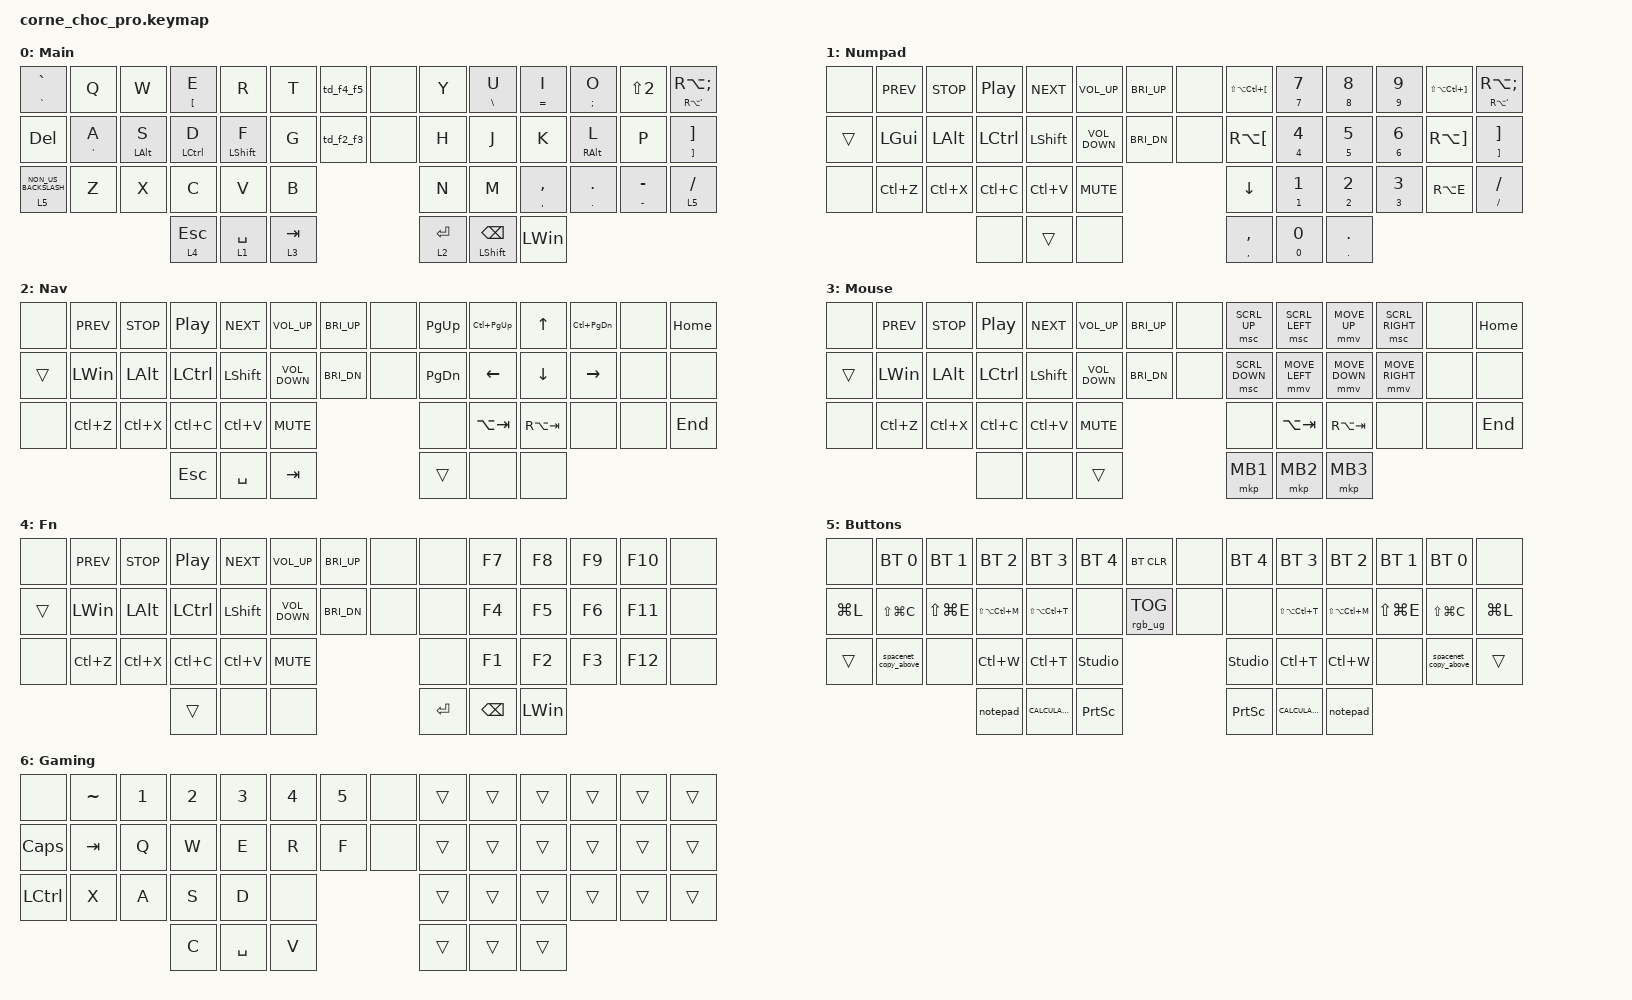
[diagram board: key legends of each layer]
/*
 * Copyright (c) 2020 The ZMK Contributors
 *
 * SPDX-License-Identifier: MIT
 */

#include <behaviors.dtsi>
#include <dt-bindings/zmk/bt.h>
#include <dt-bindings/zmk/keys.h>
#include <dt-bindings/zmk/pointing.h>
#include <dt-bindings/zmk/rgb.h>

&mt { flavor = "tap-preferred"; };

/ {
    chosen { zmk,physical-layout = &default_layout; };
};

/ {
    combos {
        compatible = "zmk,combos";

        punto_esclamativo {
            bindings = <&kp LS(NUMBER_1)>;
            key-positions = <23 24>;
        };

        caps_lock {
            bindings = <&kp CAPS>;
            key-positions = <18 17>;
        };

        apri_tonda {
            bindings = <&kp LS(N8)>;
            key-positions = <17 16>;
        };

        chiudi_tonda {
            bindings = <&kp LS(N9)>;
            key-positions = <24 25>;
        };
    };

    macros {
        notepad: notepad {
            compatible = "zmk,behavior-macro";
            #binding-cells = <0>;
            bindings =
                <&kp LG(R)>,
                <&macro_wait_time 300>,
                <&macro_tap_time 30>,
                <&macro_wait_time 30>,
                <&kp N &kp O &kp T &kp E &kp P &kp A &kp D>,
                <&macro_wait_time 50>,
                <&kp ENTER>;

            label = "NOTEPAD";
        };

        shifted: shifted {
            compatible = "zmk,behavior-macro-one-param";
            #binding-cells = <1>;
            bindings =
                <&macro_press>,
                <&kp LEFT_SHIFT &macro_param_1to1>,
                <&macro_tap>,
                <&kp MACRO_PLACEHOLDER>,
                <&macro_release>,
                <&kp LSHIFT>;

            label = "SHIFTED";
        };

        spacenet_copy_above: spacenet_copy_above {
            compatible = "zmk,behavior-macro";
            #binding-cells = <0>;
            bindings = <&kp NON_US_BACKSLASH &kp DOWN_ARROW>;
            label = "SPACENET_COPY_ABOVE";
        };
    };

    behaviors {
        auto_shift: auto_shift {
            compatible = "zmk,behavior-hold-tap";
            label = "AUTO_SHIFT";
            bindings = <&shifted>, <&kp>;

            #binding-cells = <2>;
            tapping-term-ms = <200>;
            flavor = "tap-preferred";
        };

        td_f2_f3: td_f2_f3 {
            compatible = "zmk,behavior-tap-dance";
            #binding-cells = <0>;
            tapping-term-ms = <200>;
            bindings = <
                &kp F2
                &kp F3
            >;
        };

        td_f4_f5: td_f4_f5 {
            compatible = "zmk,behavior-tap-dance";
            #binding-cells = <0>;
            tapping-term-ms = <200>;
            bindings = <
                &kp F4
                &kp F5
            >;
        };
    };

    keymap {
        compatible = "zmk,keymap";

        Main {
            display-name = "Main";

            // --------------------------------------------------------------------------------
            // |  TAB |  Q  |  W  |  E  |  R  |  T  |  MUTE |  PP   |  Y  |  U   |  I  |  O  |  P  | BSPC |
            // | CTRL |  A  |  S  |  D  |  F  |  G  |  LALT |  RALT |  H  |  J   |  K  |  L  |  ;  |  '   |
            // | SHFT |  Z  |  X  |  C  |  V  |  B  |               |  N  |  M   |  ,  |  .  |  /  | ESC  |
            //                    | GUI | LWR | SPC |               | ENT | RSE  | ALT |

            bindings = <
&auto_shift GRAVE GRAVE  &kp Q       &kp W           &mt LEFT_BRACKET E  &kp R             &kp T      &td_f4_f5  &none  &kp Y        &mt BACKSLASH U           &mt EQUAL I              &mt SEMI O           &kp LS(NUMBER_2)         &mt RA(APOS) RA(SEMICOLON)
&kp DEL                  &mt APOS A  &mt LEFT_ALT S  &mt LEFT_CONTROL D  &mt LEFT_SHIFT F  &kp G      &td_f2_f3  &none  &kp H        &kp J                     &kp K                    &mt RALT L           &kp P                    &auto_shift RIGHT_BRACKET RIGHT_BRACKET
&lt 5 NON_US_BACKSLASH   &kp Z       &kp X           &kp C               &kp V             &kp B                        &kp N        &kp M                     &auto_shift COMMA COMMA  &auto_shift DOT DOT  &auto_shift MINUS MINUS  &lt 5 SLASH
                                                     &lt 4 ESC           &lt 1 SPACE       &lt 3 TAB                    &lt 2 ENTER  &mt LEFT_SHIFT BACKSPACE  &kp LWIN
            >;
        };

        Numpad {
            display-name = "Numpad";

            // -----------------------------------------------------------------------------------------
            // |  TAB |  1  |  2  |  3  |  4  |  5    |  LCTRL | RCTRL |  6  |  7  |  8  |  9  |  0  | BSPC |
            // | CTRL | BT1 | BT2 | BT3 | BT4 | BT5   |  LALT  | RALT  | LFT | DWN |  UP | RGT |     |      |
            // | SHFT | BTCR| RGB | RST | BOOT| Unlock|        |       |     |     |     |     |     |      |
            //                    | GUI |     | SPC   |        | ENT   |     | ALT |

            bindings = <
&none   &kp C_PREV    &kp C_STOP    &kp C_PP          &kp C_NEXT      &kp C_VOLUME_UP    &kp C_BRI_UP  &none  &kp LS(LA(LC(LEFT_BRACKET)))  &auto_shift N7 N7  &auto_shift N8 N8    &auto_shift N9 N9  &kp LS(LA(LC(RIGHT_BRACKET)))  &mt RA(APOS) RA(SEMICOLON)
&trans  &kp LEFT_GUI  &kp LEFT_ALT  &kp LEFT_CONTROL  &kp LEFT_SHIFT  &kp C_VOLUME_DOWN  &kp C_BRI_DN  &none  &kp RA(LEFT_BRACKET)          &auto_shift N4 N4  &auto_shift N5 N5    &auto_shift N6 N6  &kp RA(RIGHT_BRACKET)          &auto_shift RIGHT_BRACKET RIGHT_BRACKET
&none   &kp LC(Z)     &kp LC(X)     &kp LC(C)         &kp LC(V)       &kp C_MUTE                              &kp DOWN                      &auto_shift N1 N1  &auto_shift N2 N2    &auto_shift N3 N3  &kp RA(E)                      &auto_shift SLASH SLASH
                                    &none             &trans          &none                                   &auto_shift COMMA COMMA       &auto_shift N0 N0  &auto_shift DOT DOT
            >;
        };

        Nav {
            display-name = "Nav";

            // -----------------------------------------------------------------------------------------
            // |  TAB |  !  |  @  |  #  |  $  |  %  | LCTRL | RCTRL |  ^  |  &  |  *  |  (  |  )  | BSPC |
            // | CTRL | HUD | HUI |     |     |     |  LALT | RALT  |  -  |  =  |  [  |  ]  |  \  |  `   |
            // | SHFT |     |     |     |     |     |               |  _  |  +  |  {  |  }  | "|" |  ~   |
            //                    | GUI |     | SPC |               | ENT |     | ALT |

            bindings = <
&none   &kp C_PREV    &kp C_STOP    &kp C_PP          &kp C_NEXT      &kp C_VOLUME_UP    &kp C_BRI_UP  &none  &kp PAGE_UP    &kp LC(PAGE_UP)  &kp UP_ARROW    &kp LC(PAGE_DOWN)  &none  &kp HOME
&trans  &kp LEFT_WIN  &kp LEFT_ALT  &kp LEFT_CONTROL  &kp LEFT_SHIFT  &kp C_VOLUME_DOWN  &kp C_BRI_DN  &none  &kp PAGE_DOWN  &kp LEFT_ARROW   &kp DOWN_ARROW  &kp RIGHT_ARROW    &none  &none
&none   &kp LC(Z)     &kp LC(X)     &kp LC(C)         &kp LC(V)       &kp C_MUTE                              &none          &kp LA(TAB)      &kp RA(TAB)     &none              &none  &kp END
                                    &kp ESC           &kp SPACE       &kp TAB                                 &trans         &none            &none
            >;
        };

        Mouse {
            display-name = "Mouse";
            bindings = <
&none   &kp C_PREV    &kp C_STOP    &kp C_PP          &kp C_NEXT      &kp C_VOLUME_UP    &kp C_BRI_UP  &none  &msc SCRL_UP    &msc SCRL_LEFT  &mmv MOVE_UP    &msc SCRL_RIGHT  &none  &kp HOME
&trans  &kp LEFT_WIN  &kp LEFT_ALT  &kp LEFT_CONTROL  &kp LEFT_SHIFT  &kp C_VOLUME_DOWN  &kp C_BRI_DN  &none  &msc SCRL_DOWN  &mmv MOVE_LEFT  &mmv MOVE_DOWN  &mmv MOVE_RIGHT  &none  &none
&none   &kp LC(Z)     &kp LC(X)     &kp LC(C)         &kp LC(V)       &kp C_MUTE                              &none           &kp LA(TAB)     &kp RA(TAB)     &none            &none  &kp END
                                    &none             &none           &trans                                  &mkp MB1        &mkp MB2        &mkp MB3
            >;
        };

        Fn {
            display-name = "Fn";
            bindings = <
&none   &kp C_PREV    &kp C_STOP    &kp C_PP          &kp C_NEXT      &kp C_VOLUME_UP    &kp C_BRI_UP  &none  &none      &kp F7         &kp F8        &kp F9  &kp F10  &none
&trans  &kp LEFT_WIN  &kp LEFT_ALT  &kp LEFT_CONTROL  &kp LEFT_SHIFT  &kp C_VOLUME_DOWN  &kp C_BRI_DN  &none  &none      &kp F4         &kp F5        &kp F6  &kp F11  &none
&none   &kp LC(Z)     &kp LC(X)     &kp LC(C)         &kp LC(V)       &kp C_MUTE                              &none      &kp F1         &kp F2        &kp F3  &kp F12  &none
                                    &trans            &none           &none                                   &kp ENTER  &kp BACKSPACE  &kp LEFT_WIN
            >;
        };

        Buttons {
            display-name = "Buttons";
            bindings = <
&none      &bt BT_SEL 0          &bt BT_SEL 1   &bt BT_SEL 2       &bt BT_SEL 3       &bt BT_SEL 4     &bt BT_CLR       &none  &bt BT_SEL 4     &bt BT_SEL 3       &bt BT_SEL 2       &bt BT_SEL 1   &bt BT_SEL 0          &none
&kp LG(L)  &kp LS(LG(C))         &kp LS(LG(E))  &kp LS(LA(LC(M)))  &kp LS(LA(LC(T)))  &none            &rgb_ug RGB_TOG  &none  &none            &kp LS(LA(LC(T)))  &kp LS(LA(LC(M)))  &kp LS(LG(E))  &kp LS(LG(C))         &kp LG(L)
&trans     &spacenet_copy_above  &none          &kp LC(W)          &kp LC(T)          &studio_unlock                           &studio_unlock   &kp LC(T)          &kp LC(W)          &none          &spacenet_copy_above  &trans
                                                &notepad           &kp K_CALCULATOR   &kp PRINTSCREEN                          &kp PRINTSCREEN  &kp K_CALCULATOR   &notepad
            >;
        };

        Gaming {
            display-name = "Gaming";
            bindings = <
&none             &kp TILDE  &kp NUMBER_1  &kp NUMBER_2  &kp NUMBER_3  &kp NUMBER_4  &kp N5  &none  &trans  &trans  &trans  &trans  &trans  &trans
&kp CAPS          &kp TAB    &kp Q         &kp W         &kp E         &kp R         &kp F   &none  &trans  &trans  &trans  &trans  &trans  &trans
&kp LEFT_CONTROL  &kp X      &kp A         &kp S         &kp D         &none                        &trans  &trans  &trans  &trans  &trans  &trans
                                           &kp C         &kp SPACE     &kp V                        &trans  &trans  &trans
            >;
        };
    };
};
